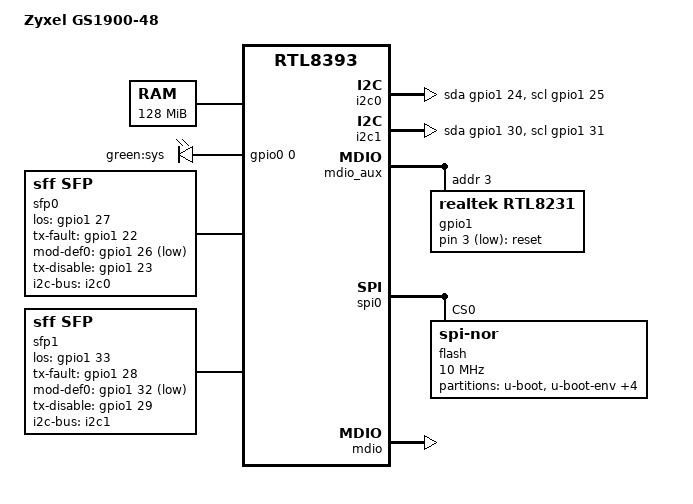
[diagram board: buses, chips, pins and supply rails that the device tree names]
/dts-v1/;

#include "rtl839x.dtsi"

#include <dt-bindings/input/input.h>
#include <dt-bindings/gpio/gpio.h>

/ {
	compatible = "zyxel,gs1900-48", "realtek,rtl8393-soc";
	model = "Zyxel GS1900-48";

	aliases {
		led-boot = &led_sys;
		led-failsafe = &led_sys;
		led-running = &led_sys;
		led-upgrade = &led_sys;
	};

	memory@0 {
		device_type = "memory";
		reg = <0x0 0x8000000>;
	};

	leds {
		pinctrl-names = "default";
		pinctrl-0 = <&pinmux_disable_sys_led>;
		compatible = "gpio-leds";

		led_sys: sys {
			label = "green:sys";
			gpios = <&gpio0 0 GPIO_ACTIVE_HIGH>;
		};
	};

	keys {
		compatible = "gpio-keys-polled";
		poll-interval = <20>;

		reset {
			label = "reset";
			gpios = <&gpio1 3 GPIO_ACTIVE_LOW>;
			linux,code = <KEY_RESTART>;
			debounce-interval = <100>;
		};
	};

	/* i2c of the left SFP cage: port 49 */
	i2c0: i2c-gpio-0 {
		compatible = "i2c-gpio";
		sda-gpios = <&gpio1 24 (GPIO_ACTIVE_HIGH | GPIO_OPEN_DRAIN)>;
		scl-gpios = <&gpio1 25 (GPIO_ACTIVE_HIGH | GPIO_OPEN_DRAIN)>;
		i2c-gpio,delay-us = <2>;
		#address-cells = <1>;
		#size-cells = <0>;
	};

	sfp0: sfp-p9 {
		compatible = "sff,sfp";
		i2c-bus = <&i2c0>;
		los-gpio = <&gpio1 27 GPIO_ACTIVE_HIGH>;
		tx-fault-gpio = <&gpio1 22 GPIO_ACTIVE_HIGH>;
		mod-def0-gpio = <&gpio1 26 GPIO_ACTIVE_LOW>;
		tx-disable-gpio = <&gpio1 23 GPIO_ACTIVE_HIGH>;
	};

	/* i2c of the right SFP cage: port 50 */
	i2c1: i2c-gpio-1 {
		compatible = "i2c-gpio";
		sda-gpios = <&gpio1 30 (GPIO_ACTIVE_HIGH | GPIO_OPEN_DRAIN)>;
		scl-gpios = <&gpio1 31 (GPIO_ACTIVE_HIGH | GPIO_OPEN_DRAIN)>;
		i2c-gpio,delay-us = <2>;
		#address-cells = <1>;
		#size-cells = <0>;
	};

	sfp1: sfp-p10 {
		compatible = "sff,sfp";
		i2c-bus = <&i2c1>;
		los-gpio = <&gpio1 33 GPIO_ACTIVE_HIGH>;
		tx-fault-gpio = <&gpio1 28 GPIO_ACTIVE_HIGH>;
		mod-def0-gpio = <&gpio1 32 GPIO_ACTIVE_LOW>;
		tx-disable-gpio = <&gpio1 29 GPIO_ACTIVE_HIGH>;
	};
};

&mdio_aux {
	status = "okay";

	gpio1: expander@3 {
		compatible = "realtek,rtl8231";
		reg = <3>;

		gpio-controller;
		#gpio-cells = <2>;
		gpio-ranges = <&gpio1 0 0 37>;

		led-controller {
			compatible = "realtek,rtl8231-leds";
			status = "disabled";
		};
	};
};

&spi0 {
	status = "okay";
	flash@0 {
		compatible = "jedec,spi-nor";
		reg = <0>;
		spi-max-frequency = <10000000>;

		partitions {
			compatible = "fixed-partitions";
			#address-cells = <1>;
			#size-cells = <1>;

			partition@0 {
				label = "u-boot";
				reg = <0x0 0x40000>;
				read-only;
			};
			partition@40000 {
				label = "u-boot-env";
				reg = <0x40000 0x10000>;
				read-only;
			};
			partition@50000 {
				label = "u-boot-env2";
				reg = <0x50000 0x10000>;
				read-only;
			};
			partition@60000 {
				label = "jffs";
				reg = <0x60000 0x100000>;
			};
			partition@160000 {
				label = "jffs2";
				reg = <0x160000 0x100000>;
			};
			partition@260000 {
				label = "firmware";
				reg = <0x260000 0xda0000>;
				compatible = "openwrt,uimage", "denx,uimage";
				openwrt,ih-magic = <0x83800000>;
			};
		};
	};
};

&ethernet0 {
	mdio: mdio-bus {
		compatible = "realtek,rtl838x-mdio";
		regmap = <&ethernet0>;
		#address-cells = <1>;
		#size-cells = <0>;

		/* External phy RTL8218B #1 */
		EXTERNAL_PHY(0)
		EXTERNAL_PHY(1)
		EXTERNAL_PHY(2)
		EXTERNAL_PHY(3)
		EXTERNAL_PHY(4)
		EXTERNAL_PHY(5)
		EXTERNAL_PHY(6)
		EXTERNAL_PHY(7)

		/* External phy RTL8218B #2 */
		EXTERNAL_PHY(8)
		EXTERNAL_PHY(9)
		EXTERNAL_PHY(10)
		EXTERNAL_PHY(11)
		EXTERNAL_PHY(12)
		EXTERNAL_PHY(13)
		EXTERNAL_PHY(14)
		EXTERNAL_PHY(15)

		/* External phy RTL8218B #3 */
		EXTERNAL_PHY(16)
		EXTERNAL_PHY(17)
		EXTERNAL_PHY(18)
		EXTERNAL_PHY(19)
		EXTERNAL_PHY(20)
		EXTERNAL_PHY(21)
		EXTERNAL_PHY(22)
		EXTERNAL_PHY(23)

		/* External phy RTL8218B #4 */
		EXTERNAL_PHY(24)
		EXTERNAL_PHY(25)
		EXTERNAL_PHY(26)
		EXTERNAL_PHY(27)
		EXTERNAL_PHY(28)
		EXTERNAL_PHY(29)
		EXTERNAL_PHY(30)
		EXTERNAL_PHY(31)

		/* External phy RTL8218B #5 */
		EXTERNAL_PHY(32)
		EXTERNAL_PHY(33)
		EXTERNAL_PHY(34)
		EXTERNAL_PHY(35)
		EXTERNAL_PHY(36)
		EXTERNAL_PHY(37)
		EXTERNAL_PHY(38)
		EXTERNAL_PHY(39)

		/* External phy RTL8218B #6 */
		EXTERNAL_PHY(40)
		EXTERNAL_PHY(41)
		EXTERNAL_PHY(42)
		EXTERNAL_PHY(43)
		EXTERNAL_PHY(44)
		EXTERNAL_PHY(45)
		EXTERNAL_PHY(46)
		EXTERNAL_PHY(47)

		/* RTL8393 Internal SerDes */
		INTERNAL_PHY(48)
		INTERNAL_PHY(49)
	};
};

&switch0 {
	ports {
		#address-cells = <1>;
		#size-cells = <0>;

		SWITCH_PORT(0, 01, qsgmii)
		SWITCH_PORT(1, 02, qsgmii)
		SWITCH_PORT(2, 03, qsgmii)
		SWITCH_PORT(3, 04, qsgmii)
		SWITCH_PORT(4, 05, qsgmii)
		SWITCH_PORT(5, 06, qsgmii)
		SWITCH_PORT(6, 07, qsgmii)
		SWITCH_PORT(7, 08, qsgmii)

		SWITCH_PORT(8, 09, qsgmii)
		SWITCH_PORT(9, 10, qsgmii)
		SWITCH_PORT(10, 11, qsgmii)
		SWITCH_PORT(11, 12, qsgmii)
		SWITCH_PORT(12, 13, qsgmii)
		SWITCH_PORT(13, 14, qsgmii)
		SWITCH_PORT(14, 15, qsgmii)
		SWITCH_PORT(15, 16, qsgmii)

		SWITCH_PORT(16, 17, qsgmii)
		SWITCH_PORT(17, 18, qsgmii)
		SWITCH_PORT(18, 19, qsgmii)
		SWITCH_PORT(19, 20, qsgmii)
		SWITCH_PORT(20, 21, qsgmii)
		SWITCH_PORT(21, 22, qsgmii)
		SWITCH_PORT(22, 23, qsgmii)
		SWITCH_PORT(23, 24, qsgmii)

		SWITCH_PORT(24, 25, qsgmii)
		SWITCH_PORT(25, 26, qsgmii)
		SWITCH_PORT(26, 27, qsgmii)
		SWITCH_PORT(27, 28, qsgmii)
		SWITCH_PORT(28, 29, qsgmii)
		SWITCH_PORT(29, 30, qsgmii)
		SWITCH_PORT(30, 31, qsgmii)
		SWITCH_PORT(31, 32, qsgmii)

		SWITCH_PORT(32, 33, qsgmii)
		SWITCH_PORT(33, 34, qsgmii)
		SWITCH_PORT(34, 35, qsgmii)
		SWITCH_PORT(35, 36, qsgmii)
		SWITCH_PORT(36, 37, qsgmii)
		SWITCH_PORT(37, 38, qsgmii)
		SWITCH_PORT(38, 39, qsgmii)
		SWITCH_PORT(39, 40, qsgmii)

		SWITCH_PORT(40, 41, qsgmii)
		SWITCH_PORT(41, 42, qsgmii)
		SWITCH_PORT(42, 43, qsgmii)
		SWITCH_PORT(43, 44, qsgmii)
		SWITCH_PORT(44, 45, qsgmii)
		SWITCH_PORT(45, 46, qsgmii)
		SWITCH_PORT(46, 47, qsgmii)
		SWITCH_PORT(47, 48, qsgmii)

		/* SFP cages */
		port@48 {
			reg = <48>;
			label = "lan49";
			phy-mode = "sgmii";
			phy-handle = <&phy48>;
			sfp = <&sfp0>;

			fixed-link {
				speed = <1000>;
				full-duplex;
				pause;
			};

		};

		port@49 {
			reg = <49>;
			label = "lan50";
			phy-mode = "sgmii";
			phy-handle = <&phy49>;
			sfp = <&sfp1>;

			fixed-link {
				speed = <1000>;
				full-duplex;
				pause;
			};

		};

		/* CPU-Port */
		port@52 {
			ethernet = <&ethernet0>;
			reg = <52>;
			phy-mode = "qsgmii";
			fixed-link {
				speed = <1000>;
				full-duplex;
			};
		};
	};
};
